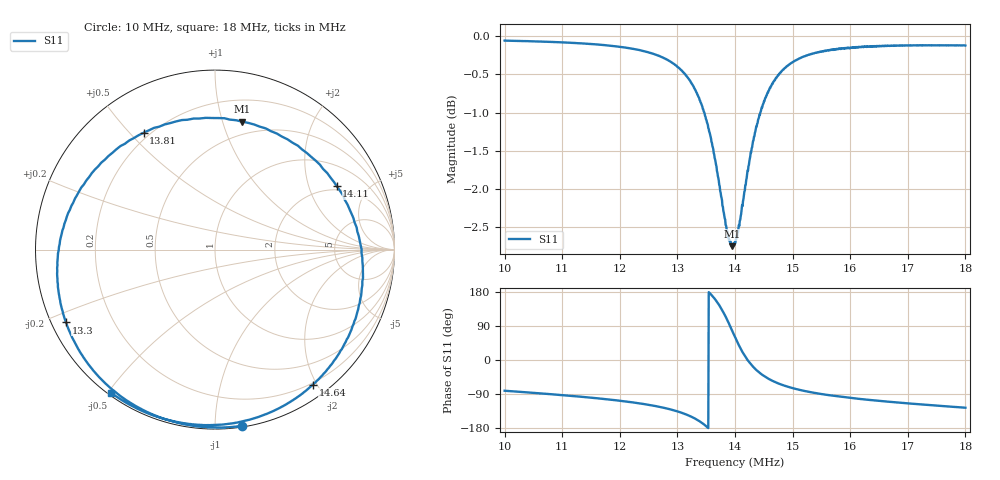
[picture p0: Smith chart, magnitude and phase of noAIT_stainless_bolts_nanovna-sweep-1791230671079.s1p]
! NanoVNA Web complex sweep
! Processing: unaveraged complex samples; linear segment spacing; no smoothing
# Hz S RI R 50
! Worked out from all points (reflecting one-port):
!   1010 points, 10 MHz to 18 MHz, reference 50 ohm
!   lowest |S11| = -2.7 dB at 13.95 MHz (marker M1), VSWR 6.37, Z = 19 + j57.9 ohm
!   phase of S11 starts at -81 deg and turns -405 deg over the sweep
!   S11 on the Smith chart (normalised r, x): 10 MHz: 0.01, -1.17; 13.3 MHz: 0.04, -0.23; 13.81 MHz: 0.18, +0.55; 14.11 MHz: 1.81, +3.09; 14.64 MHz: 0.18, -1.95; 18 MHz: 0.01, -0.51
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1e7  0.1532 -0.9816
1.100698e7  -0.0474 -0.9896
1.200604e7  -0.2975 -0.938
1.259278e7  -0.4983 -0.8363
1.300509e7  -0.6843 -0.6657
1.316367e7  -0.765 -0.548
1.329846e7  -0.8304 -0.4056
1.345704e7  -0.8777 -0.1637
1.36077e7  -0.8319 0.1623
1.371077e7  -0.6861 0.4262
1.381385e7  -0.3978 0.6511
1.388521e7  -0.1183 0.7303
1.394864e7  0.1491 0.7132
1.400414e7  0.3719 0.6302
1.405965e7  0.5621 0.4945
1.410722e7  0.6781 0.3541
1.416272e7  0.7712 0.1757
1.421823e7  0.8168 0.000195
1.428959e7  0.8208 -0.1982
1.436888e7  0.7831 -0.3854
1.449574e7  0.6786 -0.5976
1.463846e7  0.5457 -0.7524
1.480497e7  0.4033 -0.8582
1.50032e7  0.2611 -0.9255
1.544722e7  0.0257 -0.9758
1.600225e7  -0.1698 -0.9674
1.700131e7  -0.4084 -0.8978
1.800036e7  -0.5781 -0.7988
